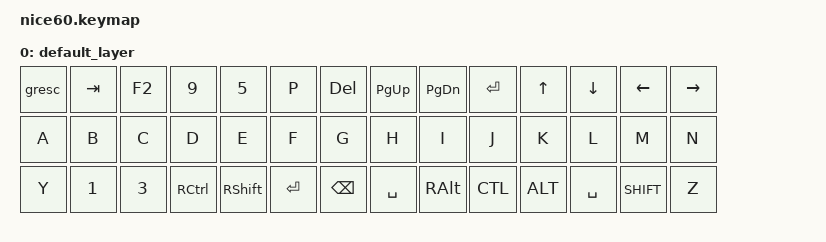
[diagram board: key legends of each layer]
/*
 * Copyright (c) 2021 Nick Winans
 *
 * SPDX-License-Identifier: MIT
 */

#include <behaviors.dtsi>
#include <dt-bindings/zmk/keys.h>
#include <dt-bindings/zmk/bt.h>

/ {
    keymap {
        compatible = "zmk,keymap";

        default_layer {
// -------------------------------------------------------------------------------------
// | ESC | TAB | F2  | N9  | N5  |  P  | DEL |PG_UP|PG_DN|ENTER| UP  |DOWN |LEFT |RIGHT|
// |  A  |  B  |  C  |  D  |  E  |  F  |  G  |  H  |  I  |  J  |  K  |  L  |  M  |  N  |
// |  Y  | N1  | N3  |RCTRL|RSHFT|ENTER|BSPC |SPACE|RALT | CTL | ALT |SPACE|SHIFT|  Z  |
// -------------------------------------------------------------------------------------
            bindings = <
    &gresc &kp TAB &kp F2 &kp N9    &kp N5    &kp P     &kp DEL  &kp PG_UP &kp PG_DN &kp ENTER &kp UP  &kp DOWN  &kp LEFT  &kp RIGHT
    &kp A  &kp B   &kp C  &kp D     &kp E     &kp F     &kp G    &kp H     &kp I     &kp J     &kp K   &kp L     &kp M     &kp N
    &kp Y  &kp N1  &kp N3 &kp RCTRL &kp RSHFT &kp ENTER &kp BSPC &kp SPACE &kp RALT  &kp CTL   &kp ALT &kp SPACE &kp SHIFT &kp Z
            >;
        };
        
    };
};
